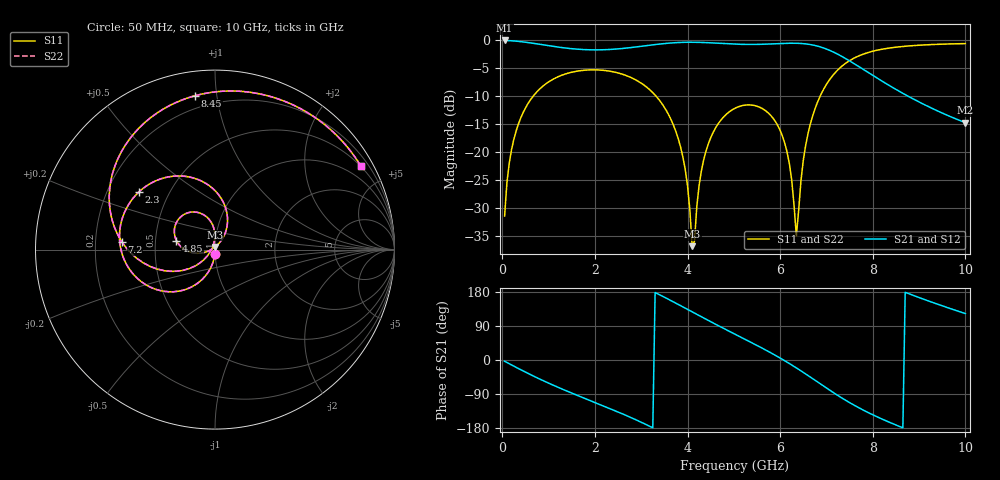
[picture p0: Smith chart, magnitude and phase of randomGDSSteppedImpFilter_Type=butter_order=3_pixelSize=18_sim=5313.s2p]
! freq	dB(S11)	phase(S11)	dB(S12)	phase(S12)
!  dB(S21)	phase(S21)	dB(S22)	phase(S22)
!S-par simulation data
#  GHz  S  DB  R 50
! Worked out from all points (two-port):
!   200 points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, 50 MHz to 10 GHz, reference 50 ohm
!   highest |S21| = -0.01 dB at 50 MHz (marker M1); lowest = -14.7 dB at 10 GHz (marker M2)
!   |S21| within 3 dB of the highest: start of sweep to 7.363 GHz
!   lowest |S11| = -36.8 dB at 4.1 GHz (marker M3), VSWR 1.03, Z = 49.9 + j1.44 ohm
!   |S11| at or under -10 dB: start of sweep to 665.9 MHz; 3.322 GHz to 6.863 GHz (3.541 GHz wide, 69.5 % of centre)
!   |S22| runs from -36.9 to -0.6 dB; largest |S21 - S12| = 0
!   S11 on the Smith chart (normalised r, x): 50 MHz: 1.00, -0.05; 2.3 GHz: 0.34, +0.30; 4.85 GHz: 0.64, +0.07; 7.2 GHz: 0.32, +0.04; 8.45 GHz: 0.13, +0.87; 10 GHz: 0.49, +3.70
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0.05  -31.44 -93.3  -0.01 -3.3  -0.01 -3.3  -31.44 -93.3
0.2  -19.56 -103.3  -0.07 -13.1  -0.07 -13.1  -19.56 -103.4
0.5  -12.10 -122.5  -0.32 -32.0  -0.32 -32.0  -12.10 -122.5
1.05  -7.17 -154.3  -1.01 -63.8  -1.01 -63.8  -7.17 -154.3
1.75  -5.35 169.9  -1.64 -99.7  -1.64 -99.7  -5.35 169.9
2.3  -5.48 142.9  -1.63 -126.9  -1.63 -126.9  -5.48 142.9
3.4  -10.78 83.4  -0.65 172.0  -0.65 172.0  -10.78 83.4
3.9  -20.87 56.6  -0.35 140.1  -0.35 140.1  -20.87 56.6
4.1  -36.83 92.9  -0.33 127.0  -0.33 127.0  -36.89 92.8
4.35  -21.33 -166.5  -0.38 110.7  -0.38 110.7  -21.33 -166.4
4.85  -13.13 166.8  -0.60 78.9  -0.60 78.9  -13.13 166.9
5.05  -12.05 155.1  -0.67 66.5  -0.67 66.5  -12.05 155.1
6  -16.12 98.2  -0.56 5.2  -0.56 5.2  -16.12 98.4
6.2  -22.11 90.3  -0.51 -9.4  -0.51 -9.4  -22.10 90.7
6.35  -35.01 148.2  -0.51 -20.8  -0.51 -20.8  -34.68 148.5
6.5  -21.45 -137.5  -0.58 -32.7  -0.58 -32.7  -21.44 -138.0
6.7  -13.56 -146.7  -0.81 -49.1  -0.81 -49.1  -13.56 -146.9
7.2  -5.67 175.3  -2.29 -90.1  -2.29 -90.1  -5.67 175.2
7.7  -2.77 140.0  -4.69 -126.1  -4.69 -126.1  -2.76 139.9
8.35  -1.38 102.5  -8.04 -163.8  -8.04 -163.8  -1.38 102.5
8.45  -1.26 97.4  -8.53 -169.0  -8.53 -169.0  -1.26 97.4
10  -0.57 29.8  -14.73 122.5  -14.73 122.5  -0.57 29.7
